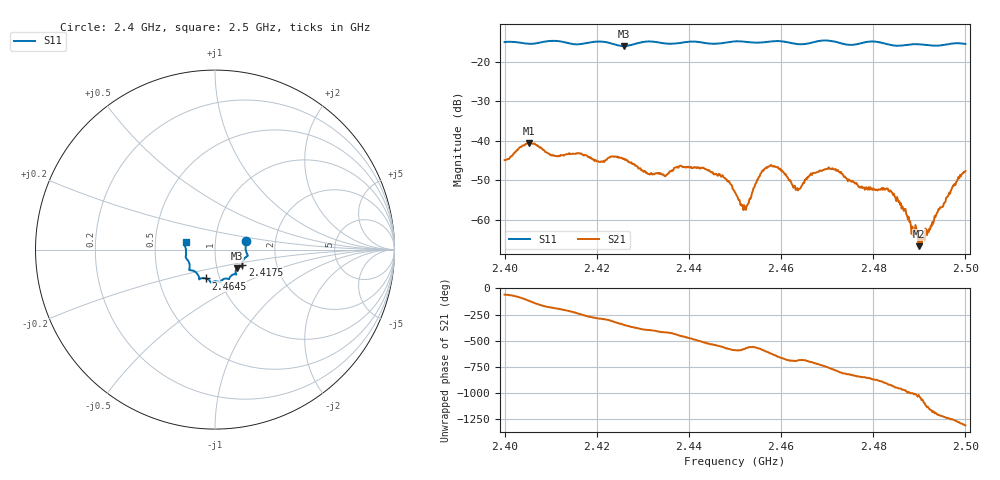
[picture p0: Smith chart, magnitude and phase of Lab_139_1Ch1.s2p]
# Hz S RI R 50
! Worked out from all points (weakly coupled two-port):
!   601 points, 2.4 GHz to 2.5 GHz, reference 50 ohm
!   highest |S21| = -40.57 dB at 2.4053 GHz (marker M1); lowest = -66.8 dB at 2.4898 GHz (marker M2)
!   lowest |S11| = -15.9 dB at 2.4258 GHz (marker M3), VSWR 1.38, Z = 62.3 - j13.2 ohm
!   |S11| at or under -10 dB: start of sweep to end of sweep
!   S12 and S22 are empty: the file has one direction only
!   S11 on the Smith chart (normalised r, x): 2.4 GHz: 1.41, +0.14; 2.4175 GHz: 1.34, -0.23; 2.4645 GHz: 0.86, -0.28; 2.5 GHz: 0.72, +0.06
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2.4e9  0.1729 0.0491  0.00301 -0.00482  0 0  0 0
2.405333e9  0.1705 0.00971  -0.00458 -0.00817  0 0  0 0
2.410667e9  0.1828 -0.0348  -0.00642 0.000705  0 0  0 0
2.416667e9  0.1528 -0.074  -0.00257 0.00643  0 0  0 0
2.4175e9  0.1517 -0.0835  -0.00113 0.00648  0 0  0 0
2.425833e9  0.1219 -0.1031  0.00582 0.00132  0 0  0 0
2.433333e9  0.1131 -0.1371  0.00238 -0.00298  0 0  0 0
2.443167e9  0.0691 -0.1622  -0.0041 -0.00196  0 0  0 0
2.447667e9  0.0367 -0.1718  -0.0031 0.00137  0 0  0 0
2.45e9  0.0291 -0.1811  -0.00143 0.00168  0 0  0 0
2.452333e9  0.0212 -0.1797  -0.00115 0.000662  0 0  0 0
2.4555e9  -0.00247 -0.1771  -0.00305 0.00225  0 0  0 0
2.457667e9  -0.0172 -0.1816  -0.0007 0.00481  0 0  0 0
2.463167e9  -0.0378 -0.1663  0.00211 0.0011  0 0  0 0
2.4645e9  -0.0516 -0.1605  0.00219 0.00156  0 0  0 0
2.466667e9  -0.0758 -0.1594  0.00355 0.000928  0 0  0 0
2.471333e9  -0.0879 -0.1613  0.0026 -0.00352  0 0  0 0
2.477167e9  -0.1281 -0.1158  -0.00146 -0.00211  0 0  0 0
2.483333e9  -0.141 -0.09  -0.00218 0.000808  0 0  0 0
2.489833e9  -0.1634 -0.0411  0.000218 0.000404  0 0  0 0
2.490667e9  -0.1628 -0.0365  0.000559 0.000184  0 0  0 0
2.5e9  -0.1641 0.0432  -0.00266 0.00316  0 0  0 0
